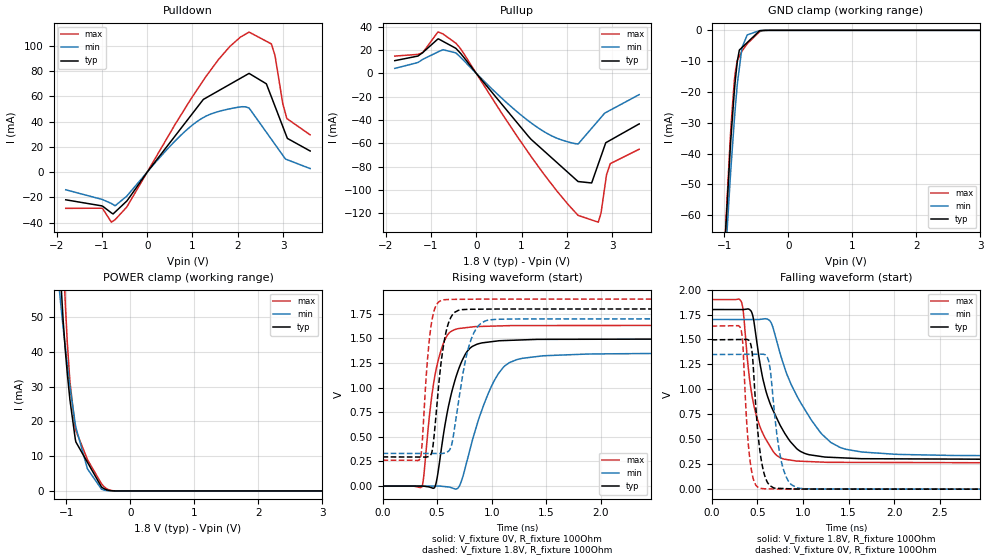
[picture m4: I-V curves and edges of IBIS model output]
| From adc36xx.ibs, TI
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|   output Model
[Model]   output
Model_type   3-state
Polarity   Non-Inverting
Vmeas = 0.9
Vref = 0
Cref = 2pF
Rref = 100000
|   typ   min   max
C_comp   1.1957E-12   1.1057E-12   1.2872E-12
|C_comp_pullup   8.9465E-13   7.7919E-13   1.0414E-12
|C_comp_pulldown   8.9465E-13   7.7562E-13   1.0366E-12
| Where Nom  PVT is Nominal Process, 1.8V, 25C
|   Fast PVT is Strong Process,  1.9V, -40C
|   Slow PVT is Weak Process,   1.7V, 125C
[Voltage Range]   1.8   1.7   1.9
|Junction Temperature
[Temperature Range]   25   125   -40
[Pullup Reference]   1.8   1.7   1.9
[Pulldown Reference]   0   0   0
[Power Clamp Reference]   1.8   1.7   1.9
[GND Clamp Reference]   0   0   0
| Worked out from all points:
|   slope of the pulldown table from 0 to 0.27 V, typ, clamps not added: 21.6 ohm
|   slope of the pullup table from 0 to 0.27 V, typ, clamps not added: 21.4 ohm
|   GND clamp passes 1 mA (typ) near -0.49 V on its own axis
|   POWER clamp passes 1 mA (typ) near -0.44 V on its own axis
|   falling waveform, V_fixture 1.8V, R_fixture 100Ohm: 20-80 % time 286ps typ, 431ps min, 178ps max; typ from 1.8 V to 0.296 V
|   rising waveform, V_fixture 0V, R_fixture 100Ohm: 20-80 % time 171ps typ, 250ps min, 120ps max; typ from 0 V to 1.5 V
|   rising waveform, V_fixture 1.8V, R_fixture 100Ohm: 20-80 % time 89.8ps typ, 131ps min, 66.1ps max; typ from 0.296 V to 1.8 V
|   falling waveform, V_fixture 0V, R_fixture 100Ohm: 20-80 % time 84.2ps typ, 110ps min, 65.4ps max; typ from 1.5 V to 0 V
[Pulldown]
|   Voltage   I(typ)   I(min)   I(max)
-1.8V     -21.98mA   -14.04mA   -28.75mA
-1.011V   -26.73mA   -21.54mA   -28.61mA
-709.4mV  -31.65mA   -26.73mA   -37.72mA
-450mV    -22.91mA   -19mA      -27.64mA
1.085V    50.34mA    39.58mA    64.29mA
1.82V     69.32mA    50.02mA    99.2mA
2.25V     78.08mA    50.67mA    110.8mA
2.632V    69.85mA    31.5mA     103.5mA
2.743V    59.52mA    25.93mA    101.4mA
2.824V    52.01mA    21.88mA    92.11mA
3.085V    27.69mA    9.863mA    42.34mA
3.6V      16.65mA    2.731mA    29.43mA
[GND Clamp]
|   Voltage   I(typ)   I(min)   I(max)
-1.8V     -443.5mA   -419mA     -461.7mA
-1.02V    -79.79mA   -86.12mA   -79.84mA
-909mV    -38.66mA   -48.32mA   -35.4mA
-845.1mV  -19.95mA   -29.28mA   -16.52mA
-829.8mV  -16.29mA   -25.19mA   -13.58mA
-795.6mV  -9.777mA   -16.97mA   -9.665mA
-766.5mV  -6.407mA   -12.3mA    -8.465mA
-724.4mV  -5.574mA   -5.542mA   -6.727mA
-642.3mV  -3.949mA   -1.474mA   -4.335mA
-450mV    -145.3uA   -84.96uA   -445.1uA
-357.9mV  -13.97uA   -13.11uA   -30.84uA
3.6V      0A         0A         0A
[Pullup]
|   Voltage   I(typ)   I(min)   I(max)
-1.8V     10.86mA    4.236mA    14.76mA
-1.182V   17.81mA    11.98mA    17.69mA
-849mV    29.35mA    18.27mA    35.28mA
-450mV    21.39mA    17.5mA     25.77mA
1.198V    -55.91mA   -42.04mA   -70.44mA
2.25V     -92.64mA   -60.54mA   -121.6mA
2.55V     -93.87mA   -47.04mA   -125.5mA
2.696V    -77.71mA   -40.47mA   -127.5mA
2.757V    -70.97mA   -37.72mA   -119.6mA
2.878V    -59.07mA   -33.24mA   -86.94mA
2.96V     -57.27mA   -31.54mA   -77.37mA
3.6V      -43.27mA   -18.22mA   -64.99mA
[POWER Clamp]
|   Voltage   I(typ)   I(min)   I(max)
-1.8V     466.1mA    367.4mA    540.1mA
-1.118V   72.12mA    59.67mA    103.2mA
-1.088V   61.1mA     53.91mA    87.34mA
-1.051V   49.43mA    47.2mA     68.98mA
-1.017V   40.76mA    41.51mA    54.42mA
-985.3mV  33.84mA    36.37mA    42.87mA
-943.8mV  26.23mA    30.09mA    31.39mA
-860.9mV  15.01mA    19.35mA    18.2mA
-670.1mV  8.237mA    6.348mA    9.017mA
-450mV    1.112mA    494.6uA    2.028mA
-241.3mV  11.7uA     5.356uA    21.39uA
3.6V      0A         0A         0A
[Ramp]
R_load = 100
|   typ   min   max
dV/dt_r   0.897781/1.71033e-10   0.809398/2.49842e-10   0.980415/1.20106e-10
dV/dt_f   0.902241/2.85666e-10   0.820793/4.29216e-10   0.982354/1.78085e-10
[Falling Waveform]
V_fixture = 1.8V
V_fixture_min = 1.7V
V_fixture_max = 1.9V
R_fixture = 100Ohm
C_fixture = 0F
|   Time   V(typ)   V(min)   V(max)
0s        1.8V       1.7V       1.9V
327ps     1.8V       1.7V       1.876V
431.9ps   1.786V     1.7V       998mV
475.7ps   1.603V     1.7V       789.2mV
591.1ps   995.7mV    1.708V     504.3mV
655.3ps   825.3mV    1.661V     406.4mV
750.4ps   641.5mV    1.36V      315.8mV
1.091ns   341.9mV    694.4mV    275.6mV
1.41ns    314.7mV    416.6mV    268.6mV
4ns       296.3mV    332mV      262.7mV
[Rising Waveform]
V_fixture = 0V
V_fixture_min = 0V
V_fixture_max = 0V
R_fixture = 100Ohm
C_fixture = 0F
|   Time   V(typ)   V(min)   V(max)
0s        4.099uV    12.54uV    1.687uV
360.8ps   52.35uV    -37.3uV    -7.143mV
445.7ps   -16.04mV   -49.04uV   871.8mV
493.5ps   48.52mV    -55.63uV   1.201V
655.2ps   1.044V     -25.8mV    1.588V
712.5ps   1.234V     22.7mV     1.603V
800.9ps   1.401V     373.4mV    1.614V
1.011ns   1.469V     1.047V     1.625V
1.231ns   1.483V     1.285V     1.631V
4ns       1.496V     1.349V     1.634V
[Rising Waveform]
V_fixture = 1.8V
V_fixture_min = 1.7V
V_fixture_max = 1.9V
R_fixture = 100Ohm
C_fixture = 0F
|   Time   V(typ)   V(min)   V(max)
0s        296.3mV    332mV      262.7mV
345.9ps   295mV      331.4mV    282.7mV
437.8ps   314.4mV    331.2mV    1.576V
462.1ps   411.7mV    331.2mV    1.739V
536.5ps   1.26V      331mV      1.886V
591.1ps   1.611V     344.5mV    1.895V
649.6ps   1.754V     518.7mV    1.897V
786.4ps   1.796V     1.404V     1.898V
945.1ps   1.798V     1.679V     1.899V
4ns       1.8V       1.7V       1.9V
[Falling Waveform]
|Gnd
V_fixture = 0V
V_fixture_min = 0V
V_fixture_max = 0V
R_fixture = 100Ohm
C_fixture = 0F
|   Time   V(typ)   V(min)   V(max)
0s        1.496V     1.349V     1.634V
322.7ps   1.5V       1.351V     1.597V
342.3ps   1.5V       1.351V     1.45V
395.4ps   1.498V     1.351V     528.7mV
435.2ps   1.426V     1.352V     197.3mV
513.8ps   507.7mV    1.352V     15.85mV
613.6ps   64.69mV    1.313V     3.033mV
765.4ps   7.12mV     271.3mV    971.2uV
929.3ps   1.152mV    16.1mV     922.1uV
4ns       4.097uV    12.54uV    1.686uV
